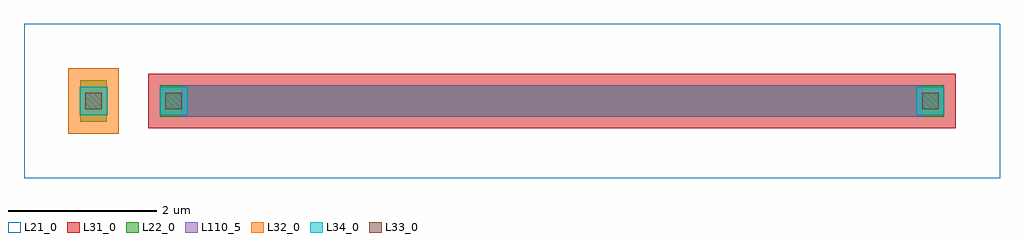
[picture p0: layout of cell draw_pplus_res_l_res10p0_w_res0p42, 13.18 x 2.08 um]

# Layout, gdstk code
import gdstk
lib = gdstk.Library(unit=1e-6, precision=1e-09)
def R(c, l, rs):  # rectangles x0, y0, x1, y1
    for r in rs: c.add(gdstk.rectangle(r[:2], r[2:], *l))
L21_0 = (21, 0)
L22_0 = (22, 0)
L31_0 = (31, 0)
L32_0 = (32, 0)
L33_0 = (33, 0)
L34_0 = (34, 0)
L110_5 = (110, 5)

draw_pplus_res_l_res10p0 = lib.new_cell('draw_pplus_res_l_res10p0_w_res0p42')
R(draw_pplus_res_l_res10p0, L21_0, [(-2.13,-0.83,11.05,1.25)])
R(draw_pplus_res_l_res10p0, L22_0, [(-1.37,-0.07,-1.01,0.49), (-0.29,0,10.29,0.42)])
R(draw_pplus_res_l_res10p0, L31_0, [(-0.45,-0.16,10.45,0.58)])
R(draw_pplus_res_l_res10p0, L32_0, [(-1.53,-0.23,-0.85,0.65)])
R(draw_pplus_res_l_res10p0, L33_0, [(-1.3,0.1,-1.08,0.32), (-0.22,0.1,0,0.32), (10,0.1,10.22,0.32)])
R(draw_pplus_res_l_res10p0, L34_0, [(-1.38,0.02,-1,0.4), (-0.3,0.02,0.08,0.4), (9.92,0.02,10.3,0.4)])
R(draw_pplus_res_l_res10p0, L110_5, [(0,0,10,0.42)])

lib.write_gds('draw_pplus_res_l_res10p0_w_res0p42.gds')
